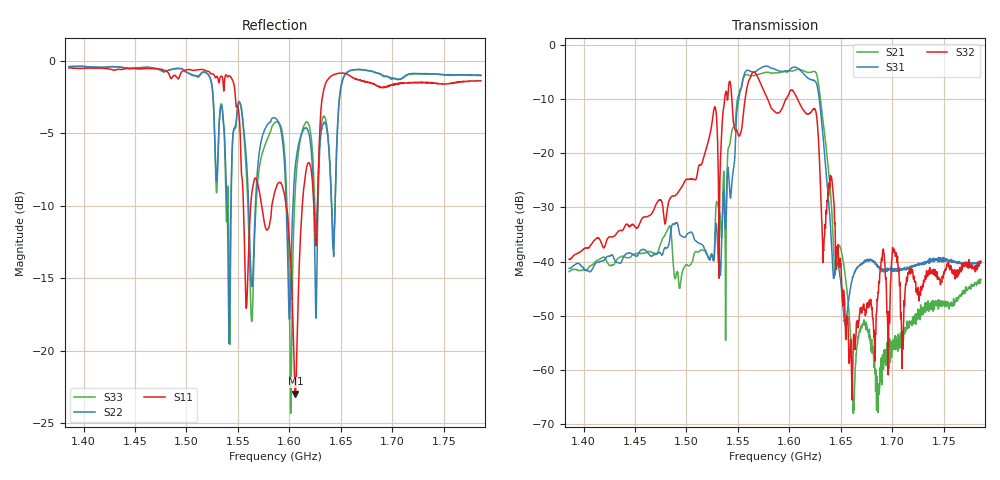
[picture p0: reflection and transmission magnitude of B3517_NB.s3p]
! Matrix data file written by TouchstoneData, EPCOS AG
! FILENAME: "LY41A_1_NB.s3p_newformat"
! COMMENT: "(LY41A_1_NB.s3p) EPCOS AG 06.10.10 15:55:02"
! INFO: nport=3, nfreq=1601
! DATE: "Tue Feb  1 11:11:57 2011"
! USER: "Sergey Rostovtsev"
! port | pin | signal
!  1  |  2  |  in
!  2  |  4  |  out
!  3  |  6  |  out
# MHZ S MA R 50
! freq  magS11 angS11  magS12 angS12  magS13 angS13  ...
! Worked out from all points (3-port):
!   1601 points, 1.386 GHz to 1.786 GHz, reference 50 ohm
!   strongest paths, dB at 1.386 GHz, 1.486 GHz, 1.586 GHz, 1.686 GHz, 1.786 GHz:
!     S32: -39.5, -27.9, -12.4, -46.0, -39.9
!     S31: -41.3, -33.3, -4.5, -41.0, -40.3
!     S21: -41.8, -36.9, -5.2, -67.8, -43.2
!   lowest |S11| = -23.0 dB at 1.606 GHz (marker M1), VSWR 1.15, Z = 48.6 + j6.89 ohm
!   |S11| at or under -10 dB: 1.555343 GHz to 1.562423 GHz (7.08 MHz wide, 0.454 % of centre); 1.573 GHz to 1.583 GHz (9.91 MHz wide, 0.628 % of centre); 1.597 GHz to 1.612 GHz (15.77 MHz wide, 0.983 % of centre) (the widest 3 of 4)
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1386  0.9442 -140.9  0.008095 150.8  0.00863 150.2
      0.008087 150.7  0.9538 -85.6  0.01052 167.5
      0.008654 150.0  0.01053 167.5  0.953 -86.8
1532.25  0.8603 165.7  0.02843 150.5  0.009249 -174.5
         0.02838 150.3  0.6388 -128.6  0.04012 128.7
         0.009253 -174.4  0.04015 128.8  0.6534 -128.7
1556  0.2591 27.0  0.5094 25.6  0.5262 -161.9
      0.5086 25.6  0.5634 -152.0  0.2657 169.7
      0.5268 -161.9  0.2668 169.7  0.5407 -160.8
1586  0.3554 -68.7  0.5488 -172.7  0.593 11.6
      0.5487 -172.8  0.6348 -97.0  0.2401 -104.8
      0.5929 11.7  0.2399 -104.6  0.6122 -90.0
1605.75  0.07111 97.4  0.5834 94.3  0.6196 -80.3
         0.583 94.3  0.4319 -27.4  0.345 -1.1
         0.6202 -80.3  0.3457 -1.1  0.3615 -27.2
1627.75  0.3577 -25.1  0.471 -70.7  0.3849 110.6
         0.4708 -70.7  0.3225 21.6  0.1568 83.7
         0.385 110.6  0.157 83.6  0.3798 37.6
1643  0.8947 -81.8  0.01217 -163.5  0.007043 74.1
      0.01215 -163.5  0.2113 150.4  0.03616 -7.8
      0.007048 74.0  0.03617 -7.6  0.2359 157.0
1662.5  0.869 -105.8  0.0004924 94.3  0.007593 -169.1
        0.0004812 95.4  0.93 -38.5  0.002139 -123.9
        0.007591 -169.1  0.002148 -124.7  0.9296 -38.9
1690.75  0.8072 -116.1  0.001208 76.0  0.008513 165.9
         0.001214 75.8  0.8891 -63.1  0.0122 166.9
         0.008486 165.8  0.01224 167.0  0.886 -64.4
1786  0.8525 -130.1  0.006908 147.9  0.009692 152.2
      0.006906 147.6  0.8904 -79.2  0.01006 169.7
      0.009661 152.3  0.0101 169.7  0.8899 -81.1
